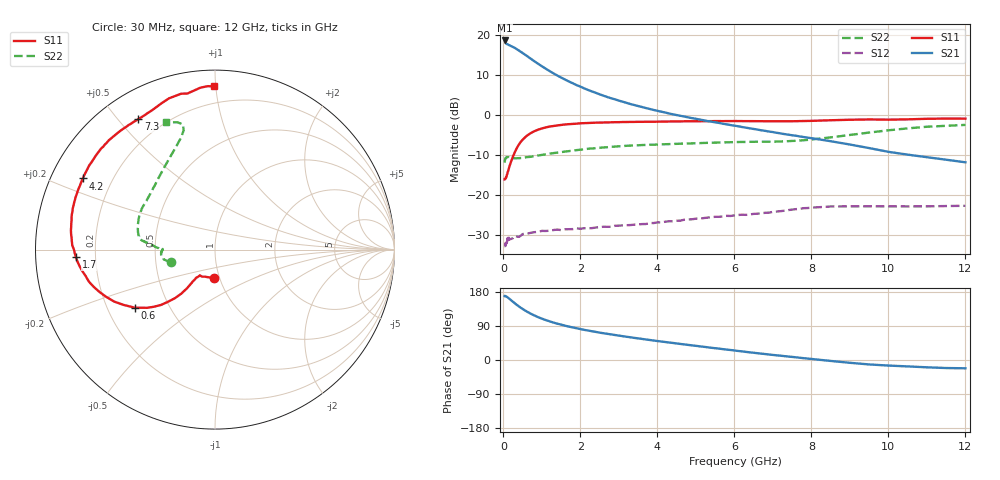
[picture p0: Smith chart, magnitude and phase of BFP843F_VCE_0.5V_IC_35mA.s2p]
! Infineon Technologies  Discrete & RF Semiconductors
! BFP843F
! VCE =  0.5 V,  IC =  35 mA
! Common Emitter S-Parameters:  Aug 2013
# GHz  S  MA  R  50
!  f  S11  S21  S12  S22
! GHz  MAG  ANG  MAG  ANG  MAG  ANG  MAG  ANG
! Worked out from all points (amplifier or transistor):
!   103 points, 30 MHz to 12 GHz, reference 50 ohm
!   highest |S21| = 18.7 dB at 30 MHz (marker M1)
!   |S21| within 3 dB of that: start of sweep to 475.9 MHz
!   unconditionally stable (mu >= 1): start of sweep to end of sweep
!   at 400 MHz: K = 2.04, MAG = 17.5 dB, |S12| = -30.4 dB
!   at 3.7 GHz: K = 2.46, MAG = 7.8 dB, |S12| = -27.2 dB
!   at 12 GHz: K = 2.48, MAG = -1.3 dB, |S12| = -22.6 dB
!   S11 on the Smith chart (normalised r, x): 30 MHz: 0.94, -0.31; 600 MHz: 0.32, -0.29; 1.7 GHz: 0.13, -0.03; 4.2 GHz: 0.10, +0.25; 7.3 GHz: 0.11, +0.57; 12 GHz: 0.09, +0.99
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0.03  0.1584 -91.8  8.622 168.6  0.0233 25.8  0.2573 -163.8
0.04  0.1586 -103.9  8.303 168.0  0.0232 25.3  0.278 -167.3
0.05  0.1611 -110.6  8.072 168.9  0.0251 19.0  0.2913 -169.3
0.07  0.1664 -120.5  7.874 168.0  0.0277 15.4  0.2955 -172.2
0.25  0.3083 -127.4  7.138 153.3  0.0293 12.6  0.2918 -179.9
0.35  0.3925 -132.1  6.69 145.2  0.0306 13.7  0.291 179.3
0.45  0.4659 -136.9  6.218 137.9  0.0314 13.2  0.2924 -179.8
0.6  0.5526 -144.2  5.56 128.3  0.033 13.3  0.3004 179.9
0.8  0.6326 -152.8  4.749 117.7  0.0347 13.4  0.3087 179.5
0.9  0.6623 -156.7  4.407 113.0  0.035 13.3  0.3149 178.5
1.1  0.7066 -162.9  3.822 105.3  0.0359 13.8  0.3263 177.8
1.4  0.7483 -170.7  3.14 95.8  0.0374 14.4  0.3421 176.5
1.7  0.776 -176.8  2.649 88.1  0.0378 15.1  0.3573 175.2
2.1  0.7993 176.5  2.17 79.5  0.0389 15.2  0.3762 174.2
3  0.822 165.1  1.526 64.4  0.0419 19.1  0.4108 172.9
4.1  0.835 152.8  1.111 48.8  0.0459 21.6  0.4337 169.1
4.2  0.8356 151.7  1.085 47.5  0.0469 22.4  0.4357 168.7
6.1  0.8483 133.3  0.73 23.8  0.0569 22.2  0.4642 154.0
7.3  0.8431 120.4  0.583 10.2  0.0644 21.5  0.4737 140.7
8.5  0.8683 110.0  0.475 -2.5  0.0727 15.1  0.5303 123.2
10.5  0.891 98.1  0.323 -16.9  0.0728 8.1  0.6874 104.7
12  0.9095 90.5  0.259 -21.9  0.0741 8.9  0.7597 111.0
